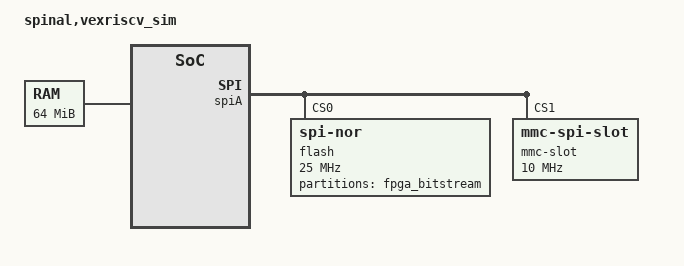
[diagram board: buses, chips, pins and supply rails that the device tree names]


/dts-v1/;
//include/ "dt-bindings/interrupt-controller/irq.h"
//include/ "dt-bindings/gpio/gpio.h"



/ {
    #address-cells = <0x1>;
    #size-cells = <0x1>;
    compatible = "spinal,vexriscv";
    model = "spinal,vexriscv_sim";

    chosen {
        bootargs = "rootwait console=hvc0 root=/dev/mmcblk0p2 init=/sbin/init"; 

        //bootargs = "rootwait console=hvc0 root=/dev/ram0 init=/sbin/init loglevel=7"; 
        //linux,initrd-start = <0x80C00000>;
        //linux,initrd-end =   <0x81400000>; 
    };

    cpus {
        #address-cells = <0x1>;
        #size-cells = <0x0>;
        timebase-frequency = <100000000>;
            cpu@0 {
                device_type = "cpu";
                compatible = "riscv";
                riscv,isa = "rv32im";
                mmu-type = "riscv,sv32";
                reg = <0>;
                status = "okay";
                L1: interrupt-controller {
                    #interrupt-cells = <0x00000001>;
                    interrupt-controller;
                    compatible = "riscv,cpu-intc";
                };
            };
        };

    memory@80000000 {
        device_type = "memory";
        reg = <0x80000000 0x04000000>;
    };

	reserved-memory {
		#address-cells = <1>;
		#size-cells = <1>;
		ranges;

		machineMode: sbi@81FF0000 {
			reg = <0x81FF0000 0x10000>;
		};
	};

    apbA@10000000 {
        compatible = "simple-bus";
        #address-cells = <0x1>;
        #size-cells = <0x1>;
        ranges = <0x0 0x10000000 0x01000000>;

        plic: interrupt-controller@c00000 {
            compatible = "sifive,plic-1.0.0", "sifive,fu540-c000-plic";
            #interrupt-cells = <1>;
            interrupt-controller;
            interrupts-extended = <&L1 11 &L1 9>;
            reg = <0x00C00000 0x400000>;
            riscv,ndev = <32>;
        };

        gpioA: gpio@0 {
	        compatible = "spinal-lib,gpio-1.0";
	        interrupt-parent = <&plic>;
	        ngpio = <16>;
	        interrupts = <4 5 6 7>;
	        reg = <0x000000 0x1000>;
	        gpio-controller;
	        #gpio-cells = <2>;
	        interrupt-controller;
	        #interrupt-cells = <2>;
        };

        spiA: spi@20000 {
            compatible = "spinal-lib,spi-1.0";
            #address-cells = <1>;
            #size-cells = <0>;   
            reg = <0x020000 0x1000>;
            cmd_fifo_depth = <256>;
            rsp_fifo_depth = <256>;
            /*cs-gpios = <&gpioA 15 0>;*/

                   
	        flash: flash@0 {
		        #address-cells = <1>;
		        #size-cells = <1>;
		        compatible = "spi-nor";
		        reg = <0>;
		        spi-max-frequency = <25000000>;

	            partition@0 {
	                label = "fpga_bitstream";
	                reg = <0x000000 0x400000>;
	            };
	            parition@1 {
	                label = "machineModeSbi";
	                reg = <0x400000 0x010000>;
	            };
	            parition@2 {
	                label = "uboot";
	                reg = <0x410000 0x070000>;
	            };
	            parition@3 {
	                label = "user";
	                reg = <0x480000 0xB80000>;
	            };
	        };
            mmc-slot@1 {
                compatible = "mmc-spi-slot";
                reg = <1>;
                voltage-ranges = <3300 3300>;
                spi-max-frequency = <10000000>;
            };
        };
    };
};


